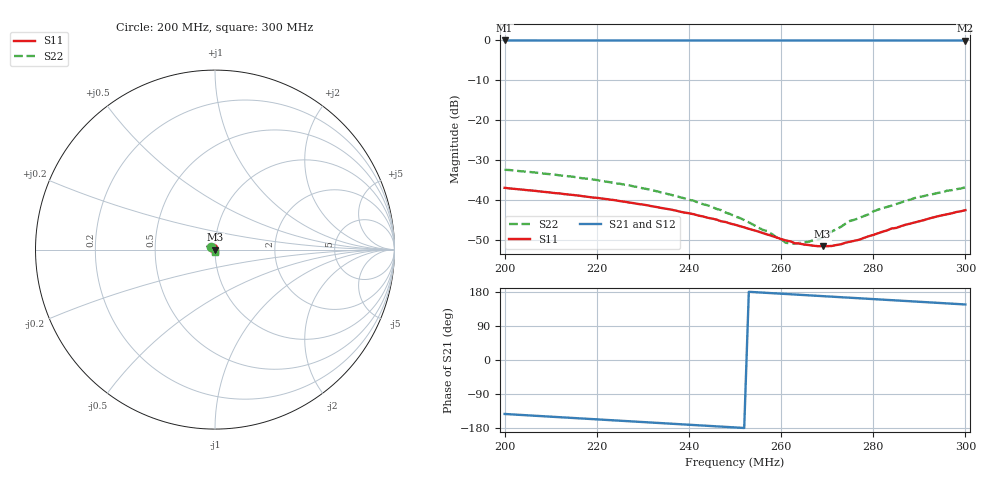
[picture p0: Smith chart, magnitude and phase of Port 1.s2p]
! RsaToolbox (C) 2014 Rohde & Schwarz America
! Number of points: 101
! Number of ports: 2
! Balanced ports?: No
# Hz S RI R 50
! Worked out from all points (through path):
!   101 points, 200 MHz to 300 MHz, reference 50 ohm
!   highest |S21| = -0.10 dB at 200 MHz (marker M1); lowest = -0.1 dB at 300 MHz (marker M2)
!   group delay of S21, straight-line fit = 1.97 ns
!   lowest |S11| = -51.6 dB at 269 MHz (marker M3), VSWR 1.01, Z = 50.3 - j0.0272 ohm
!   |S11| at or under -10 dB: start of sweep to end of sweep
!   |S22| runs from -50.9 to -32.5 dB; largest |S21 - S12| = 0
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2e8  -0.00969 0.0103  -0.7838 -0.6032  -0.7838 -0.6032  -0.0196 0.0135
2.17e8  -0.00482 0.01  -0.8925 -0.4254  -0.8925 -0.4254  -0.0124 0.0139
2.27e8  -0.00235 0.00899  -0.9381 -0.3119  -0.9381 -0.3119  -0.00801 0.013
2.34e8  -0.000806 0.0079  -0.9616 -0.2295  -0.9616 -0.2295  -0.0051 0.0113
2.41e8  0.000477 0.00662  -0.9777 -0.1453  -0.9777 -0.1453  -0.00252 0.00947
2.47e8  0.00138 0.00522  -0.9858 -0.0722  -0.9858 -0.0722  -0.000794 0.00741
2.5e8  0.00181 0.00455  -0.9878 -0.0354  -0.9878 -0.0354  0.000119 0.00622
2.57e8  0.00236 0.00285  -0.987 0.0504  -0.987 0.0504  0.00178 0.00366
2.59e8  0.00249 0.00231  -0.9854 0.0749  -0.9854 0.0749  0.002 0.00276
2.6e8  0.00254 0.00201  -0.9844 0.0871  -0.9844 0.0871  0.00216 0.00242
2.61e8  0.00257 0.00176  -0.9833 0.0993  -0.9833 0.0993  0.00222 0.00189
2.63e8  0.00256 0.0013  -0.9805 0.1236  -0.9805 0.1236  0.0026 0.00115
2.67e8  0.00266 0.000261  -0.9731 0.1721  -0.9731 0.1721  0.00307 -0.000603
2.69e8  0.00263 -0.000271  -0.9685 0.1961  -0.9685 0.1961  0.00308 -0.00145
2.7e8  0.0026 -0.000459  -0.966 0.2081  -0.966 0.2081  0.00331 -0.00189
2.71e8  0.00254 -0.000757  -0.9633 0.22  -0.9633 0.22  0.00334 -0.00225
2.75e8  0.0024 -0.00181  -0.9512 0.2675  -0.9512 0.2675  0.00338 -0.00431
2.79e8  0.00202 -0.00287  -0.9367 0.3143  -0.9367 0.3143  0.0032 -0.00578
2.81e8  0.00185 -0.00334  -0.9286 0.3374  -0.9286 0.3374  0.00321 -0.00683
2.84e8  0.00154 -0.00412  -0.9153 0.3718  -0.9153 0.3718  0.00284 -0.00801
2.89e8  0.000803 -0.00517  -0.8905 0.4277  -0.8905 0.4277  0.00231 -0.0103
3e8  -0.00119 -0.00735  -0.8239 0.5448  -0.8239 0.5448  5.62e-05 -0.0144
